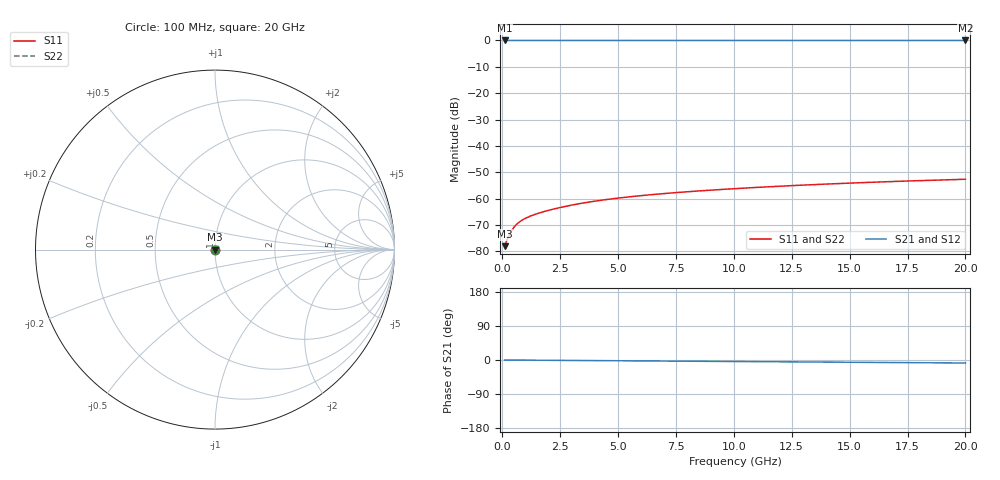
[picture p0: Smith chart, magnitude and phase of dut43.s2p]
! Touchstone file exported from HFSS 2026.1.0
!  File:  C:/ffzhzh/LocalFiles/Ansys_Project_Files/temp_train_TSV_43_1782958635_15332.aedt
!  Generated:  10:18:36 AM Jul  2, 2026
!  Design:  TSV
!  Project:  temp_train_TSV_43_1782958635_15332
! Variables:
!  h_bsmrdl = 2um
!  h_ox = 20um
!  h_rdl = 5um
!  h_sub = 79.44um
!  h_tmrdl = 5um
!  h_tsv = 79.44um
!  h_via = 3um
!  l_bsmrdl = 300um
!  l_sub = 421.42um
!  l_tmrdl = 200um
!  m_sub = 200um
!  pitch = 43.8um
!  r_tsv = 10.71um
!  s_tmrdl = 10um
!  w_bsmrdl = 18um
!  w_sub = 500um
!  w_tmrdl = 12um
!  x_tsv_center1 = 206um
!  x_tsv_center2 = 524um
!  x_tsv_center3 = 736um
!  x_tsv_center4 = 1054um
!  x_tsv_center5 = 1266um
!  x_tsv_center6 = 1584um
# GHz S MA R 50.000000
! Terminal data exported
! Port[1] = TSV1_1_T1
! Port[2] = TSV1_1_T2
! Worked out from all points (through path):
!   200 points, 100 MHz to 20 GHz, reference 50 ohm
!   highest |S21| = 0.00 dB at 100 MHz (marker M1); lowest = 0.0 dB at 20 GHz (marker M2)
!   group delay of S21, straight-line fit = 1.1 ps
!   lowest |S11| = -78.0 dB at 100 MHz (marker M3), VSWR 1.00, Z = 50 + j0.00524 ohm
!   |S11| at or under -10 dB: start of sweep to end of sweep
!   |S22| runs from -78.0 to -52.6 dB; largest |S21 - S12| = 3.5e-15
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0.1  0.0001261 24.5  0.9999 -0.0  0.9999 -0.0  0.0001261 24.5
! Gamma 0 0 0 0
! Port Impedance 50 0 50 0
0.2  0.000163 38.5  0.9999 -0.1  0.9999 -0.1  0.000163 38.5
0.3  0.0002059 44.7  0.9999 -0.1  0.9999 -0.1  0.0002059 44.7
0.4  0.000248 47.2  0.9998 -0.2  0.9998 -0.2  0.000248 47.2
0.5  0.0002865 48.0  0.9998 -0.2  0.9998 -0.2  0.0002865 48.0
0.6  0.0003208 48.1  0.9998 -0.2  0.9998 -0.2  0.0003208 48.1
0.7  0.0003513 48.0  0.9998 -0.3  0.9998 -0.3  0.0003513 48.0
0.9  0.0004031 47.6  0.9997 -0.4  0.9997 -0.4  0.0004031 47.6
1.1  0.0004464 47.4  0.9997 -0.4  0.9997 -0.4  0.0004464 47.4
1.3  0.0004848 47.6  0.9997 -0.5  0.9997 -0.5  0.0004848 47.6
1.6  0.0005374 48.1  0.9996 -0.6  0.9996 -0.6  0.0005374 48.1
1.9  0.0005871 48.7  0.9996 -0.8  0.9996 -0.8  0.0005871 48.7
2.7  0.0007128 50.2  0.9995 -1.1  0.9995 -1.1  0.0007128 50.2
3.5  0.0008305 51.1  0.9995 -1.4  0.9995 -1.4  0.0008305 51.1
4.2  0.0009265 51.4  0.9994 -1.7  0.9994 -1.7  0.0009265 51.4
5  0.001028 51.6  0.9994 -2.0  0.9994 -2.0  0.001028 51.6
6.8  0.001233 51.8  0.9993 -2.7  0.9993 -2.7  0.001233 51.8
8.3  0.001387 51.8  0.9992 -3.3  0.9992 -3.3  0.001387 51.8
10.1  0.001559 51.9  0.9991 -4.0  0.9991 -4.0  0.001559 51.9
13.4  0.001848 51.6  0.999 -5.3  0.999 -5.3  0.001848 51.6
16.7  0.002108 51.0  0.9989 -6.6  0.9989 -6.6  0.002108 51.0
20  0.002339 50.2  0.9988 -7.9  0.9988 -7.9  0.002339 50.2
